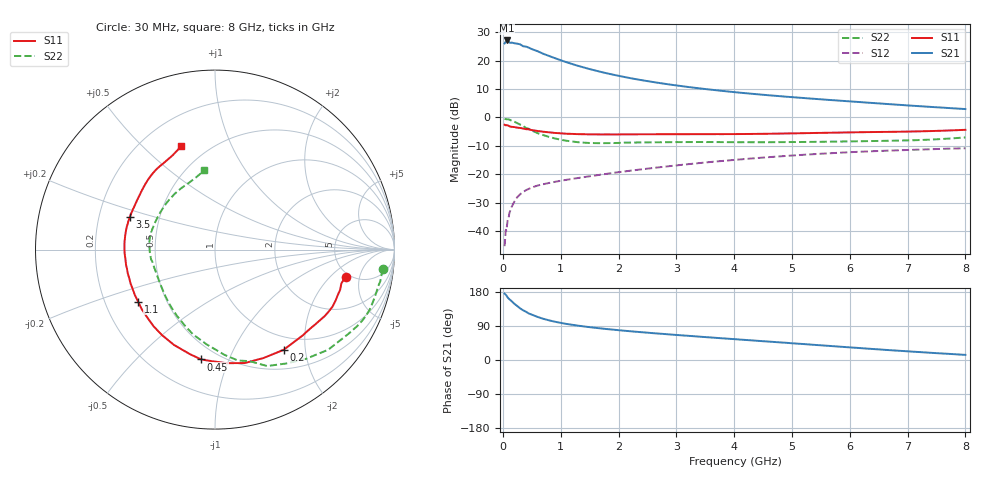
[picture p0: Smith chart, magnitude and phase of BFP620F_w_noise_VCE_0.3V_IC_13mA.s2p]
! Infineon Technologies  Discrete & RF Semiconductors
! BFP620F
! VCE =  0.3 V,  IC =  13 mA
! Common Emitter S-Parameters:  Dec 2014
# GHz  S  MA  R  50
!  f  S11  S21  S12  S22
! GHz  MAG  ANG  MAG  ANG  MAG  ANG  MAG  ANG
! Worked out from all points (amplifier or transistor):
!   95 points, 30 MHz to 8 GHz, reference 50 ohm
!   highest |S21| = 27.1 dB at 70 MHz (marker M1)
!   |S21| within 3 dB of that: start of sweep to 495.4 MHz
!   unconditionally stable (mu >= 1): 3.143 GHz to end of sweep
!   at 300 MHz: K = 0.16, MSG = 26.4 dB, |S12| = -27.0 dB
!   at 3.3 GHz: K = 1.01, MAG = 12.8 dB, |S12| = -16.3 dB
!   at 8 GHz: K = 1.10, MAG = 5.0 dB, |S12| = -10.8 dB
!   lowest NFmin = 0.66 dB at 450 MHz
!   S11 on the Smith chart (normalised r, x): 30 MHz: 4.62, -3.11; 200 MHz: 0.78, -1.61; 450 MHz: 0.40, -0.80; 1.1 GHz: 0.34, -0.27; 3.5 GHz: 0.34, +0.16; 8 GHz: 0.36, +0.66
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0.03  0.7431 -11.7  20.16 175.1  0.0054 87.9  0.9418 -6.6
0.06  0.7295 -20.2  22.39 170.5  0.0102 83.7  0.9317 -12.7
0.07  0.7293 -22.9  22.74 168.1  0.0122 82.0  0.9302 -14.8
0.09  0.7212 -28.7  22.26 163.9  0.0167 78.1  0.9262 -19.2
0.12  0.6964 -36.9  20.76 159.2  0.0218 73.5  0.9103 -25.9
0.15  0.684 -44.2  20.89 155.5  0.0263 70.8  0.8805 -32.0
0.2  0.6768 -55.6  20.27 148.1  0.0331 67.1  0.8421 -41.5
0.3  0.6534 -75.3  19.42 136.1  0.0445 58.5  0.7483 -58.0
0.35  0.6364 -84.0  17.98 131.2  0.0485 56.0  0.7107 -65.9
0.45  0.6167 -97.2  16.95 122.6  0.0553 51.0  0.6311 -78.3
0.6  0.5784 -113.2  14.71 113.7  0.0631 46.8  0.5297 -95.1
0.7  0.5605 -121.8  13.23 108.7  0.0667 45.3  0.489 -104.3
0.9  0.5335 -135.4  11.1 101.0  0.0734 43.9  0.4264 -119.6
1.1  0.5171 -146.0  9.406 95.2  0.0797 43.5  0.3888 -132.6
1.4  0.507 -158.2  7.606 88.6  0.0888 43.7  0.3599 -148.1
2  0.5024 -175.2  5.424 78.7  0.1087 44.3  0.3559 -169.4
2.7  0.5065 171.2  4.06 69.7  0.1323 43.2  0.3654 177.3
3.5  0.5082 159.2  3.17 60.5  0.1608 40.5  0.3686 166.6
4.1  0.5104 151.1  2.735 53.9  0.1821 37.6  0.3665 158.8
5.4  0.5334 136.7  2.125 39.8  0.2263 29.4  0.3719 139.7
6.7  0.5581 122.5  1.712 25.9  0.2609 19.7  0.389 119.9
8  0.6062 108.4  1.406 13.5  0.2869 10.2  0.445 97.7
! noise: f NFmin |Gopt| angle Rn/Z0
0.45  0.66  0.19  8  0.2
0.9  0.73  0.17  18  0.18
1.5  0.78  0.17  20  0.13
1.8  0.81  0.15  23  0.11
1.9  0.82  0.11  37  0.13
2.4  0.86  0.1  53  0.12
3.5  0.95  0.09  78  0.12
5.5  1.11  0.11  197  0.09
6  1.15  0.1  226  0.13
